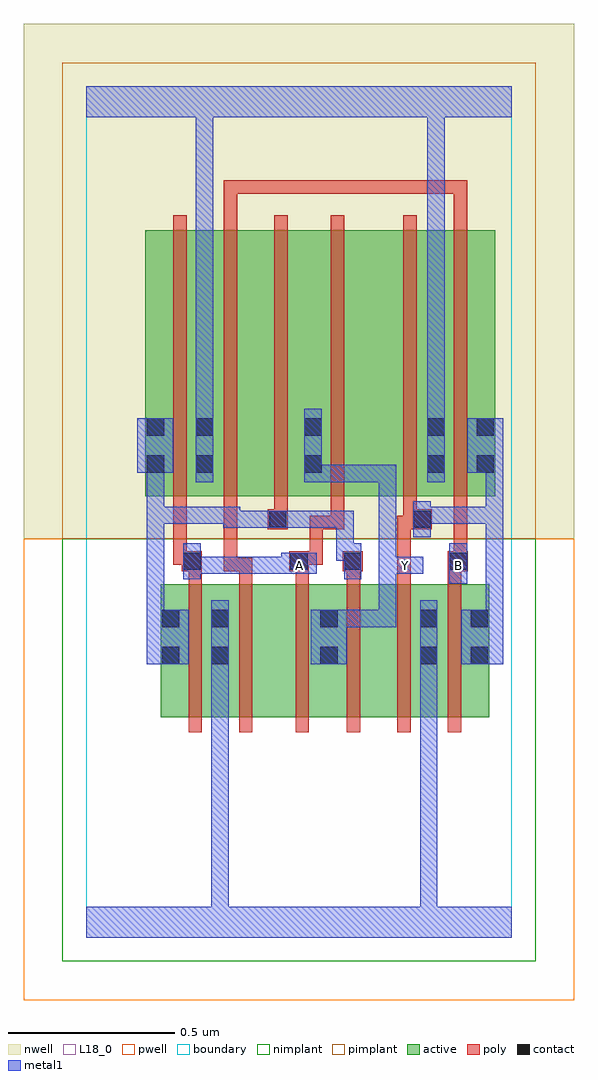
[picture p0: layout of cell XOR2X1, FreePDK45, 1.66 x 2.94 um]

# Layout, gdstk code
import gdstk
lib = gdstk.Library(unit=1e-6, precision=1e-09)
def R(c, l, rs):  # rectangles x0, y0, x1, y1
    for r in rs: c.add(gdstk.rectangle(r[:2], r[2:], *l))
def A(c, l, x, y, w, h, nx, ny, dx, dy):  # array of equal rectangles
    R(c, l, [(x+i*dx, y+j*dy, x+i*dx+w, y+j*dy+h) for i in range(nx) for j in range(ny)])
active = (1, 0)
pwell = (2, 0)
nwell = (3, 0)
nimplant = (4, 0)
pimplant = (5, 0)
poly = (9, 0)
contact = (10, 0)
metal1 = (11, 0)
L18_0 = (18, 0)
boundary = (235, 0)

xor2x1 = lib.new_cell('XOR2X1')
R(xor2x1, active, [(0.224,0.662,0.284,1.062), (0.224,0.662,0.432,1.062), (0.372,0.662,0.432,1.062), (0.372,0.662,0.574,1.062), (0.574,0.662,0.76,1.062), (0.7,0.662,0.76,1.062), (0.7,0.662,0.88,1.062), (0.88,0.662,1.06,1.062), (1,0.662,1.06,1.062), (1,0.662,1.212,1.062), (1.152,0.662,1.212,1.062), (0.178,1.328,0.386,2.128), (0.178,1.328,0.238,2.128), (0.326,1.328,0.386,2.044), (0.326,1.328,0.51,2.128), (0.51,1.328,0.712,2.128), (0.652,1.328,0.712,2.128), (0.652,1.328,0.832,2.128), (0.832,1.328,1.082,2.128), (1.022,1.328,1.23,2.128), (1.022,1.328,1.082,2.128), (1.17,1.328,1.23,2.044)])
R(xor2x1, pwell, [(-0.188,-0.188,1.468,1.2)])
R(xor2x1, nwell, [(-0.188,1.2,1.468,2.748)])
R(xor2x1, nimplant, [(-0.072,-0.072,1.352,1.2)])
R(xor2x1, pimplant, [(-0.072,1.2,1.352,2.632)])
A(xor2x1, poly, 0.784, 0.618, 0.04, 0.488, 3, 1, 0.152, 0)
A(xor2x1, poly, 0.262, 1.284, 0.04, 0.888, 3, 1, 0.152, 0)
R(xor2x1, poly, [(0.308,0.618,0.348,1.106), (0.46,0.618,0.5,1.106), (0.63,0.618,0.67,1.106), (0.308,1.066,0.348,1.142), (0.46,1.066,0.5,1.142), (0.63,1.066,0.67,1.142), (0.784,1.066,0.824,1.142), (0.936,1.066,0.976,1.268), (1.088,1.066,1.128,1.142), (0.288,1.102,0.348,1.162), (0.414,1.102,0.454,1.324), (0.414,1.102,0.48,1.142), (0.44,1.102,0.48,1.142), (0.44,1.102,0.5,1.142), (0.61,1.102,0.67,1.162), (0.772,1.102,0.832,1.162), (1.088,1.102,1.148,1.162), (0.262,1.122,0.302,1.324), (0.262,1.122,0.328,1.162), (0.288,1.122,0.328,1.162), (0.63,1.122,0.712,1.162), (0.672,1.122,0.712,1.268), (0.672,1.122,0.712,1.162), (1.106,1.122,1.146,1.162), (1.106,1.122,1.146,1.162), (1.106,1.122,1.146,1.324), (0.546,1.228,0.606,1.288), (0.672,1.228,0.712,1.268), (0.672,1.228,0.776,1.268), (0.736,1.228,0.776,1.268), (0.736,1.228,0.776,1.324), (0.936,1.228,0.994,1.268), (0.954,1.228,0.994,1.268), (0.954,1.228,1.04,1.288), (0.566,1.248,0.606,1.324), (0.954,1.248,0.994,1.324), (0.736,1.284,0.776,2.172), (0.954,1.284,0.994,2.172), (1.106,1.284,1.146,2.172), (0.414,2.132,0.454,2.278), (1.106,2.132,1.146,2.278), (0.414,2.238,0.454,2.278), (0.414,2.238,0.56,2.278), (0.52,2.238,0.56,2.278), (0.52,2.238,0.56,2.278), (0.52,2.238,0.56,2.278), (0.52,2.238,0.87,2.278), (0.83,2.238,0.87,2.278), (0.83,2.238,0.87,2.278), (0.83,2.238,0.87,2.278), (0.83,2.238,0.976,2.278), (0.936,2.238,0.976,2.278), (0.936,2.238,0.976,2.278), (0.936,2.238,0.976,2.278), (0.936,2.238,1.146,2.278), (1.106,2.238,1.146,2.278), (1.106,2.238,1.146,2.278), (1.106,2.238,1.146,2.278)])
R(xor2x1, contact, [(0.228,0.822,0.28,0.874), (0.376,0.822,0.428,0.874), (0.704,0.822,0.756,0.874), (1.004,0.822,1.056,0.874), (1.156,0.822,1.208,0.874), (0.228,0.934,0.28,0.986), (0.376,0.934,0.428,0.986), (0.704,0.934,0.756,0.986), (1.004,0.934,1.056,0.986), (1.156,0.934,1.208,0.986), (0.292,1.106,0.344,1.158), (0.614,1.106,0.666,1.158), (0.776,1.106,0.828,1.158), (1.092,1.106,1.144,1.158), (0.55,1.232,0.602,1.284), (0.984,1.232,1.036,1.284), (0.182,1.398,0.234,1.45), (0.33,1.398,0.382,1.45), (0.656,1.398,0.708,1.45), (1.026,1.398,1.078,1.45), (1.174,1.398,1.226,1.45), (0.182,1.51,0.234,1.562), (0.33,1.51,0.382,1.562), (0.656,1.51,0.708,1.562), (1.026,1.51,1.078,1.562), (1.174,1.51,1.226,1.562)])
R(xor2x1, metal1, [(0,0,1.28,0.092), (0.376,0.04,0.428,0.092), (0.376,0.04,0.428,0.092), (0.376,0.04,0.428,0.092), (0.376,0.04,0.428,0.092), (0.376,0.04,0.428,0.092), (0.376,0.04,0.428,0.092), (0.376,0.04,0.428,0.092), (0.376,0.04,0.428,0.092), (0.376,0.04,0.428,0.092), (0.376,0.04,0.428,0.092), (0.376,0.04,0.428,0.846), (1.004,0.04,1.056,0.092), (1.004,0.04,1.056,0.092), (1.004,0.04,1.056,0.092), (1.004,0.04,1.056,0.092), (1.004,0.04,1.056,0.092), (1.004,0.04,1.056,0.092), (1.004,0.04,1.056,0.092), (1.004,0.04,1.056,0.092), (1.004,0.04,1.056,0.092), (1.004,0.04,1.056,0.092), (1.004,0.04,1.056,0.092), (1.004,0.04,1.056,0.092), (1.004,0.04,1.056,0.846), (0.376,0.794,0.428,0.846), (0.376,0.794,0.428,0.846), (0.376,0.794,0.428,1.014), (1.004,0.794,1.056,1.014), (0.182,0.822,0.308,0.986), (0.676,0.822,0.784,0.986), (1.128,0.822,1.254,0.986), (0.182,0.934,0.234,1.296), (0.732,0.934,0.926,0.986), (0.874,0.934,0.926,0.986), (0.874,0.934,0.932,0.986), (0.88,0.934,0.932,0.986), (0.88,0.934,0.932,1.146), (1.202,0.934,1.254,1.296), (1.202,0.934,1.254,0.986), (1.202,0.934,1.254,0.986), (1.092,1.064,1.146,1.186), (0.292,1.078,0.344,1.186), (0.776,1.078,0.828,1.186), (0.292,1.094,0.344,1.146), (0.292,1.094,0.344,1.146), (0.292,1.094,0.454,1.146), (0.402,1.094,0.454,1.146), (0.402,1.094,0.598,1.146), (0.546,1.094,0.598,1.146), (0.546,1.094,0.638,1.146), (0.586,1.094,0.694,1.158), (0.88,1.094,0.932,1.422), (0.88,1.094,1.014,1.146), (0.752,1.134,0.804,1.186), (0.752,1.134,0.828,1.186), (0.752,1.134,0.804,1.284), (0.984,1.204,1.036,1.312), (0.412,1.232,0.574,1.284), (0.412,1.232,0.464,1.296), (0.522,1.232,0.574,1.284), (0.522,1.232,0.574,1.284), (0.522,1.232,0.63,1.284), (0.578,1.232,0.804,1.284), (0.752,1.232,0.804,1.284), (0.182,1.244,0.234,1.45), (0.182,1.244,0.234,1.296), (0.182,1.244,0.234,1.296), (0.182,1.244,0.234,1.296), (0.182,1.244,0.234,1.296), (0.182,1.244,0.234,1.296), (0.182,1.244,0.464,1.296), (0.412,1.244,0.464,1.296), (0.412,1.244,0.464,1.296), (0.984,1.244,1.042,1.296), (0.99,1.244,1.042,1.296), (0.99,1.244,1.254,1.296), (1.202,1.244,1.254,1.45), (1.202,1.244,1.254,1.296), (1.202,1.244,1.254,1.296), (1.202,1.244,1.254,1.296), (0.33,1.37,0.382,1.59), (0.656,1.37,0.708,1.59), (0.656,1.37,0.926,1.422), (0.874,1.37,0.926,1.422), (0.874,1.37,0.932,1.422), (0.88,1.37,0.932,1.422), (0.88,1.37,0.932,1.422), (0.88,1.37,0.932,1.422), (1.026,1.37,1.078,1.59), (0.154,1.398,0.262,1.562), (1.146,1.398,1.254,1.562), (0.33,1.538,0.382,2.52), (1.026,1.538,1.078,1.59), (1.026,1.538,1.078,1.59), (1.026,1.538,1.078,1.59), (1.026,1.538,1.078,1.59), (1.026,1.538,1.078,2.52), (0,2.468,1.28,2.56), (0.33,2.468,0.382,2.52), (0.33,2.468,0.382,2.52), (0.33,2.468,0.382,2.52), (0.33,2.468,0.382,2.52), (0.33,2.468,0.382,2.52), (0.33,2.468,0.382,2.52), (0.33,2.468,0.382,2.52), (0.33,2.468,0.382,2.52), (1.026,2.468,1.078,2.52), (1.026,2.468,1.078,2.52), (1.026,2.468,1.078,2.52), (1.026,2.468,1.078,2.52)])
R(xor2x1, L18_0, [(0,0,1.28,0.092), (0.376,0.04,0.428,0.092), (0.376,0.04,0.428,0.092), (0.376,0.04,0.428,0.092), (0.376,0.04,0.428,0.092), (0.376,0.04,0.428,0.092), (0.376,0.04,0.428,0.092), (0.376,0.04,0.428,0.092), (0.376,0.04,0.428,0.092), (0.376,0.04,0.428,0.092), (0.376,0.04,0.428,0.092), (0.376,0.04,0.428,0.846), (1.004,0.04,1.056,0.092), (1.004,0.04,1.056,0.092), (1.004,0.04,1.056,0.092), (1.004,0.04,1.056,0.092), (1.004,0.04,1.056,0.092), (1.004,0.04,1.056,0.092), (1.004,0.04,1.056,0.092), (1.004,0.04,1.056,0.092), (1.004,0.04,1.056,0.092), (1.004,0.04,1.056,0.092), (1.004,0.04,1.056,0.092), (1.004,0.04,1.056,0.092), (1.004,0.04,1.056,0.846), (0.376,0.794,0.428,0.846), (0.376,0.794,0.428,0.846), (0.376,0.794,0.428,1.014), (1.004,0.794,1.056,1.014), (0.676,0.822,0.784,0.986), (0.732,0.934,0.926,0.986), (0.874,0.934,0.926,0.986), (0.874,0.934,0.932,0.986), (0.88,0.934,0.932,0.986), (0.88,0.934,0.932,1.146), (1.092,1.064,1.146,1.186), (0.292,1.078,0.344,1.186), (0.292,1.094,0.344,1.146), (0.292,1.094,0.344,1.146), (0.292,1.094,0.454,1.146), (0.402,1.094,0.454,1.146), (0.402,1.094,0.598,1.146), (0.546,1.094,0.598,1.146), (0.546,1.094,0.638,1.146), (0.586,1.094,0.694,1.158), (0.614,1.094,0.666,1.146), (0.88,1.094,1.014,1.146), (0.88,1.094,0.932,1.422), (0.934,1.094,0.986,1.146), (1.094,1.094,1.146,1.146), (0.33,1.37,0.382,1.59), (0.656,1.37,0.708,1.59), (0.656,1.37,0.926,1.422), (0.874,1.37,0.926,1.422), (0.874,1.37,0.932,1.422), (0.88,1.37,0.932,1.422), (0.88,1.37,0.932,1.422), (0.88,1.37,0.932,1.422), (1.026,1.37,1.078,1.59), (0.33,1.538,0.382,2.52), (1.026,1.538,1.078,1.59), (1.026,1.538,1.078,1.59), (1.026,1.538,1.078,1.59), (1.026,1.538,1.078,1.59), (1.026,1.538,1.078,2.52), (0,2.468,1.28,2.56), (0.33,2.468,0.382,2.52), (0.33,2.468,0.382,2.52), (0.33,2.468,0.382,2.52), (0.33,2.468,0.382,2.52), (0.33,2.468,0.382,2.52), (0.33,2.468,0.382,2.52), (0.33,2.468,0.382,2.52), (0.33,2.468,0.382,2.52), (1.026,2.468,1.078,2.52), (1.026,2.468,1.078,2.52), (1.026,2.468,1.078,2.52), (1.026,2.468,1.078,2.52)])
R(xor2x1, boundary, [(0,0,1.28,2.56)])
xor2x1.add(gdstk.Label('A', (0.64,1.12), layer=11, texttype=0))
xor2x1.add(gdstk.Label('B', (1.12,1.12), layer=11, texttype=0))
xor2x1.add(gdstk.Label('Y', (0.96,1.12), layer=11, texttype=0))

lib.write_gds('XOR2X1.gds')
